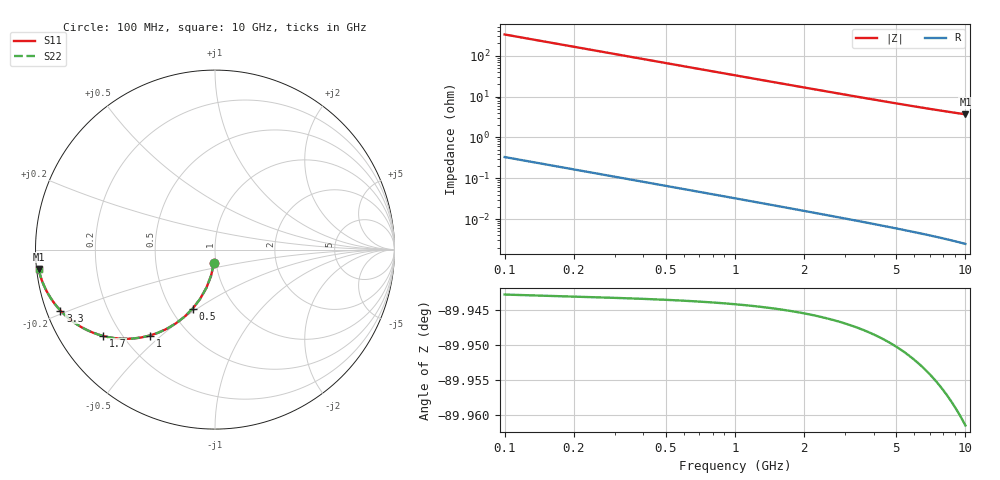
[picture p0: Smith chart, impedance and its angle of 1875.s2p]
# Hz S RI R 50.00
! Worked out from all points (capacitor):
!   100 points, 100 MHz to 10 GHz, reference 50 ohm
!   read as one part in shunt: C = 4.81 pF near 100 MHz
!   lowest |Z| = 3.68 ohm at 10 GHz (marker M1)
!   S11 on the Smith chart (normalised r, x): 100 MHz: 0.98, -0.15; 500 MHz: 0.64, -0.48; 1 GHz: 0.31, -0.46; 1.7 GHz: 0.13, -0.34; 3.3 GHz: 0.04, -0.19; 10 GHz: 0.01, -0.05
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1e8  -0.00571 -0.0749  0.9942 -0.0753  0.9942 -0.0753  -0.00571 -0.0749
2e8  -0.0224 -0.1473  0.9775 -0.148  0.9775 -0.148  -0.0224 -0.1473
3e8  -0.049 -0.2149  0.9509 -0.2159  0.9509 -0.2159  -0.049 -0.2149
4e8  -0.0838 -0.276  0.9161 -0.2773  0.9161 -0.2773  -0.0838 -0.276
5e8  -0.125 -0.3294  0.8749 -0.3311  0.8749 -0.3311  -0.125 -0.3294
6e8  -0.1705 -0.3746  0.8294 -0.3766  0.8294 -0.3766  -0.1705 -0.3746
7e8  -0.2185 -0.4116  0.7814 -0.414  0.7814 -0.414  -0.2185 -0.4116
8e8  -0.2675 -0.4408  0.7325 -0.4435  0.7325 -0.4435  -0.2675 -0.4408
1e9  -0.3631 -0.4787  0.6368 -0.4821  0.6368 -0.4821  -0.3631 -0.4787
1.3e9  -0.4905 -0.4972  0.5095 -0.5017  0.5095 -0.5017  -0.4905 -0.4972
1.7e9  -0.6218 -0.4815  0.3781 -0.4874  0.3781 -0.4874  -0.6218 -0.4815
1.8e9  -0.6483 -0.4739  0.3516 -0.4801  0.3516 -0.4801  -0.6483 -0.4739
2.1e9  -0.7149 -0.4473  0.285 -0.4546  0.285 -0.4546  -0.7149 -0.4473
2.5e9  -0.7803 -0.4091  0.2196 -0.4178  0.2196 -0.4178  -0.7803 -0.4091
2.9e9  -0.827 -0.3726  0.1729 -0.3828  0.1729 -0.3828  -0.827 -0.3726
3.3e9  -0.8609 -0.3397  0.139 -0.3513  0.139 -0.3513  -0.8609 -0.3397
3.4e9  -0.8679 -0.332  0.132 -0.344  0.132 -0.344  -0.8679 -0.332
4.2e9  -0.9094 -0.279  0.0904 -0.2938  0.0904 -0.2938  -0.9094 -0.279
5.1e9  -0.9368 -0.2334  0.0629 -0.2516  0.0629 -0.2516  -0.9368 -0.2334
6.7e9  -0.9627 -0.1764  0.0369 -0.2007  0.0369 -0.2007  -0.9627 -0.1764
8.4e9  -0.9762 -0.1355  0.0233 -0.1666  0.0233 -0.1666  -0.9762 -0.1355
1e10  -0.9832 -0.1074  0.016 -0.1452  0.016 -0.1452  -0.9832 -0.1074
